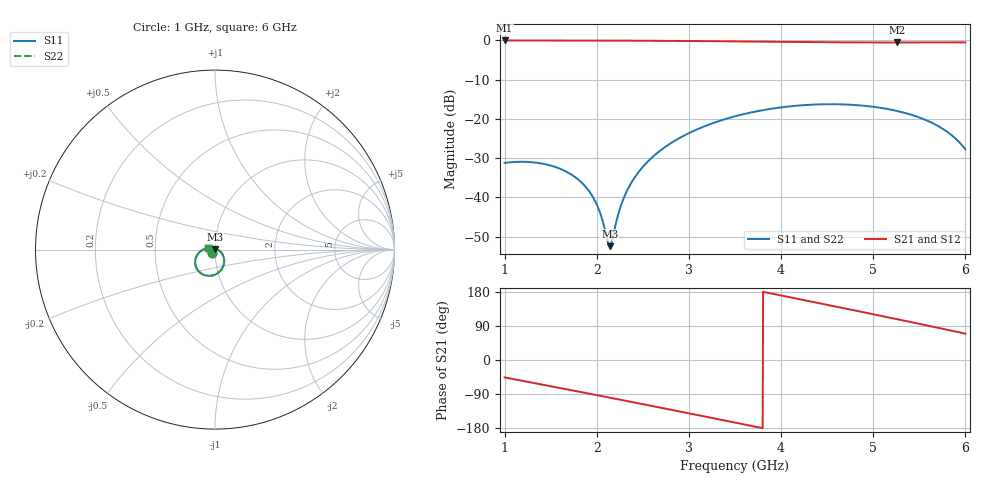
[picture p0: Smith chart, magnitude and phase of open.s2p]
! Created Fri Aug  9 09:24:34 2024
! List of port names and net name(s): example Port n = <port_name> <net_name1> <net_name2> ...
! Port 1 = P1 P2
! Port 2 = P2 P2
# hz S ri R 50
! 2 Port Network Data from data block
! freq  reS11  imS11  reS21  imS21  reS12  imS12  reS22  imS22
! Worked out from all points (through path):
!   1001 points, 1 GHz to 6 GHz, reference 50 ohm
!   highest |S21| = -0.02 dB at 1 GHz (marker M1); lowest = -0.5 dB at 5.26 GHz (marker M2)
!   group delay of S21, straight-line fit = 136 ps
!   lowest |S11| = -52.4 dB at 2.14 GHz (marker M3), VSWR 1.00, Z = 50 + j0.239 ohm
!   |S11| at or under -10 dB: start of sweep to end of sweep
!   |S22| runs from -52.4 to -16.3 dB; largest |S21 - S12| = 0
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1e9  -0.0191 -0.0198  0.6933 -0.7179  0.6933 -0.7179  -0.0191 -0.0198
1.48e9  -0.0239 -0.00991  0.3689 -0.9261  0.3689 -0.9261  -0.0239 -0.00991
1.675e9  -0.0207 -0.00444  0.2173 -0.9722  0.2173 -0.9722  -0.0207 -0.00444
1.835e9  -0.0155 -0.000591  0.0882 -0.9916  0.0882 -0.9916  -0.0155 -0.000591
1.995e9  -0.00815 0.0019  -0.0429 -0.9937  -0.0429 -0.9937  -0.00815 0.0019
2.05e9  -0.00519 0.00231  -0.0879 -0.9904  -0.0879 -0.9904  -0.00519 0.00231
2.12e9  -0.00115 0.00244  -0.1451 -0.9832  -0.1451 -0.9832  -0.00115 0.00244
2.14e9  5.6e-05 0.00239  -0.1614 -0.9805  -0.1614 -0.9805  5.6e-05 0.00239
2.165e9  0.00159 0.00228  -0.1816 -0.9768  -0.1816 -0.9768  0.00159 0.00228
2.26e9  0.00765 0.00121  -0.2579 -0.9586  -0.2579 -0.9586  0.00765 0.00121
2.35e9  0.0136 -0.00075  -0.3288 -0.9358  -0.3288 -0.9358  0.0136 -0.00075
2.485e9  0.0227 -0.00556  -0.4315 -0.8915  -0.4315 -0.8915  0.0227 -0.00556
2.67e9  0.0344 -0.0159  -0.5629 -0.812  -0.5629 -0.812  0.0344 -0.0159
3.035e9  0.0498 -0.0477  -0.7781 -0.5988  -0.7781 -0.5988  0.0498 -0.0477
3.5e9  0.0429 -0.099  -0.9387 -0.2492  -0.9387 -0.2492  0.0429 -0.099
3.91e9  0.00887 -0.1352  -0.9566 0.088  -0.9566 0.088  0.00887 -0.1352
4.335e9  -0.0431 -0.1456  -0.8529 0.4195  -0.8529 0.4195  -0.0431 -0.1456
4.775e9  -0.0919 -0.1199  -0.6312 0.7007  -0.6312 0.7007  -0.0919 -0.1199
5.17e9  -0.1107 -0.0732  -0.3557 0.8704  -0.3557 0.8704  -0.1107 -0.0732
5.26e9  -0.1102 -0.0613  -0.2856 0.8957  -0.2856 0.8957  -0.1102 -0.0613
5.695e9  -0.0816 -0.0102  0.0752 0.9389  0.0752 0.9389  -0.0816 -0.0102
6e9  -0.0403 0.00715  0.3307 0.8843  0.3307 0.8843  -0.0403 0.00715
